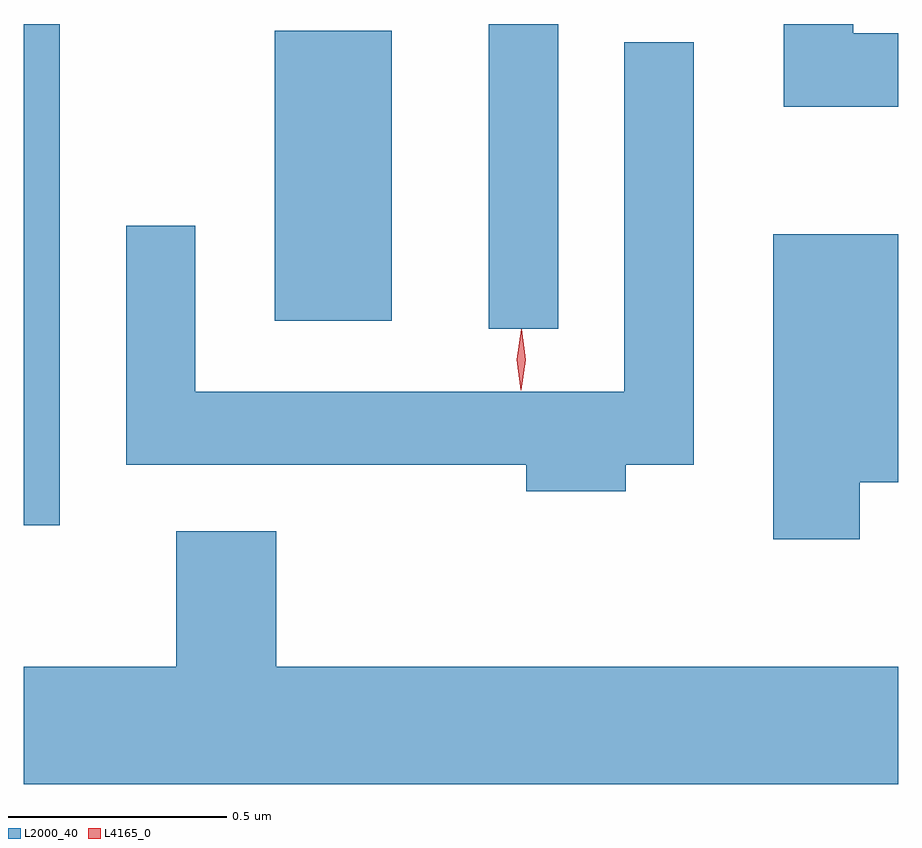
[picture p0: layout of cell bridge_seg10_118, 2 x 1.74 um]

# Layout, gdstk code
import gdstk
lib = gdstk.Library(unit=1e-6, precision=1e-09)
def R(c, l, rs):  # rectangles x0, y0, x1, y1
    for r in rs: c.add(gdstk.rectangle(r[:2], r[2:], *l))
def P(c, l, *ps):  # polygons
    for p in ps: c.add(gdstk.Polygon(p, *l))
L2000_40 = (2000, 40)
L4165_0 = (4165, 0)

bridge_seg10_118 = lib.new_cell('bridge_seg10_118')
R(bridge_seg10_118, L2000_40, [(1584.802,2156.688,1584.884,2157.835), (1585.866,2157.138,1586.024,2157.835), (1585.376,2157.156,1585.644,2157.819)])
P(bridge_seg10_118, L2000_40, [(1586.802,2157.814),(1586.699,2157.814),(1586.699,2157.835),(1586.541,2157.835),(1586.541,2157.646),(1586.802,2157.646)],
  [(1586.179,2156.826),(1586.334,2156.826),(1586.334,2157.793),(1586.176,2157.793),(1586.176,2156.994),(1585.194,2156.994),(1585.194,2157.373),(1585.036,2157.373),(1585.036,2156.826),(1585.951,2156.826),(1585.951,2156.766),(1586.179,2156.766)],
  [(1586.714,2156.786),(1586.802,2156.786),(1586.802,2157.354),(1586.516,2157.354),(1586.516,2156.656),(1586.714,2156.656)],
  [(1586.802,2156.364),(1585.379,2156.364),(1585.379,2156.674),(1585.151,2156.674),(1585.151,2156.364),(1584.802,2156.364),(1584.802,2156.096),(1586.802,2156.096)])
P(bridge_seg10_118, L4165_0, [(1585.939,2156.997),(1585.93,2157.067),(1585.94,2157.136),(1585.941,2157.136),(1585.941,2157.136),(1585.95,2157.067),(1585.94,2156.997),(1585.94,2156.997)])

lib.write_gds('bridge_seg10_118.gds')
